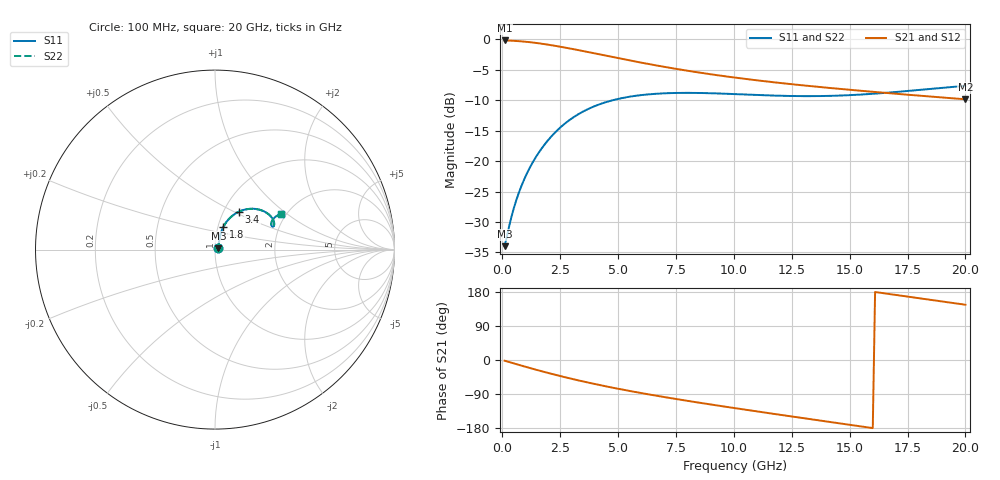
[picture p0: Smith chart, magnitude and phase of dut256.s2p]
! Touchstone file exported from HFSS 2024.1.0
!  File:  C:/UserFiles/LocalFiles/RDL_TSV_Batchsim/temp_RDL_TSV_256_1779457841.aedt
!  Generated:  10:06:41 PM May 22, 2026
!  Design:  RDL_TSV
!  Project:  temp_RDL_TSV_256_1779457841
!  Setup:  Setup1
!  Solution:  Sweep
! Variables:
!  dtsv = 7.34um
!  hbump = 3um
!  htsv = 79.11um
!  ldown = 132.9um
!  lrdl = 663.6um
!  p = 40
!  p1 = 51.82um
!  rhole = 10um
!  subl = 3053.1um
!  t = 450um
!  tdown = 2.8um
!  trdl = 4.38um
!  viad = 10um
!  wdown = 26.99um
!  wrdl = 13.68um
!  xbump = 18um
# GHz S MA R 50.000000
! Terminal data exported
! Port[1] = TM1_1_T1
! Port[2] = TM1_4_T1
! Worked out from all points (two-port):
!   200 points, 100 MHz to 20 GHz, reference 50 ohm
!   highest |S21| = -0.16 dB at 100 MHz (marker M1); lowest = -9.8 dB at 20 GHz (marker M2)
!   |S21| within 3 dB of the highest: start of sweep to 5.132 GHz
!   lowest |S11| = -34.0 dB at 100 MHz (marker M3), VSWR 1.04, Z = 51.9 + j0.772 ohm
!   |S11| at or under -10 dB: start of sweep to 4.755 GHz
!   |S22| runs from -34.0 to -7.6 dB; largest |S21 - S12| = 1.2e-14
!   S11 on the Smith chart (normalised r, x): 100 MHz: 1.04, +0.02; 1.8 GHz: 1.06, +0.27; 3.4 GHz: 1.18, +0.53; 20 GHz: 1.88, +0.89
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0.1  0.02004 21.8  0.9812 -1.8  0.9812 -1.8  0.02004 21.8
! Gamma 0 0 0 0
! Port Impedance 50 0 50 0
0.3  0.0294 47.3  0.9785 -5.5  0.9785 -5.5  0.0294 47.3
0.5  0.04123 58.5  0.9743 -9.1  0.9743 -9.1  0.04123 58.5
0.8  0.06078 66.4  0.9655 -14.4  0.9655 -14.4  0.06077 66.4
1  0.07472 68.9  0.958 -17.9  0.958 -17.9  0.07471 68.9
1.3  0.09668 70.5  0.9445 -23.0  0.9445 -23.0  0.09666 70.5
1.8  0.1351 69.8  0.917 -31.3  0.917 -31.3  0.135 69.8
2.5  0.1888 65.5  0.8719 -42.3  0.8719 -42.3  0.1887 65.4
3.4  0.2504 57.7  0.8093 -55.4  0.8093 -55.4  0.2501 57.6
3.5  0.2564 56.8  0.8023 -56.7  0.8023 -56.7  0.2562 56.7
4.2  0.2934 50.6  0.7542 -66.0  0.7542 -66.0  0.2931 50.5
4.9  0.3213 44.8  0.7089 -74.7  0.7089 -74.7  0.321 44.8
5.8  0.3454 38.3  0.6559 -85.0  0.6559 -85.0  0.345 38.3
6.8  0.3595 32.5  0.6047 -95.8  0.6047 -95.8  0.3591 32.4
8.4  0.3637 25.9  0.5383 -111.7  0.5383 -111.7  0.3632 25.8
10.1  0.3555 22.3  0.4846 -127.5  0.4846 -127.5  0.355 22.2
11.7  0.3461 21.7  0.4454 -141.9  0.4454 -141.9  0.3456 21.6
13.4  0.3423 23.2  0.4121 -157.0  0.4121 -157.0  0.3417 23.2
15  0.3487 25.6  0.386 -171.0  0.386 -171.0  0.348 25.5
16.7  0.3662 27.7  0.362 174.2  0.362 174.2  0.3654 27.6
18.4  0.391 28.6  0.3406 159.5  0.3406 159.5  0.3901 28.5
20  0.4162 28.2  0.3226 145.9  0.3226 145.9  0.4151 28.2
